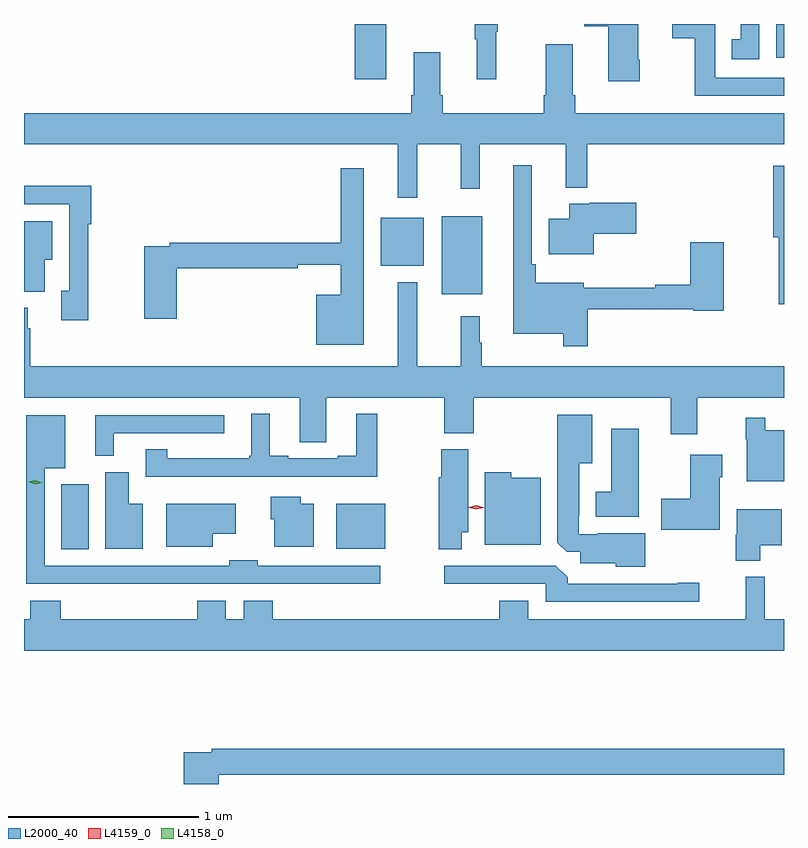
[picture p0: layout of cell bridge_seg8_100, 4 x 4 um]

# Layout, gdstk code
import gdstk
lib = gdstk.Library(unit=1e-6, precision=1e-09)
def R(c, l, rs):  # rectangles x0, y0, x1, y1
    for r in rs: c.add(gdstk.rectangle(r[:2], r[2:], *l))
def P(c, l, *ps):  # polygons
    for p in ps: c.add(gdstk.Polygon(p, *l))
L2000_40 = (2000, 40)
L4158_0 = (4158, 0)
L4159_0 = (4159, 0)

bridge_seg8_100 = lib.new_cell('bridge_seg8_100')
R(bridge_seg8_100, L2000_40, [(683.501,1139.677,683.644,1140.019), (684.947,1139.681,685.204,1139.917), (685.502,1141.019,685.717,1141.429), (685.181,1141.169,685.408,1141.423), (685.046,1142.15,685.21,1142.442), (687.264,1142.265,687.304,1142.442)])
P(bridge_seg8_100, L2000_40, [(686.544,1142.254),(686.536,1142.254),(686.536,1142.442),(686.109,1142.442),(686.109,1142.441),(686.252,1142.441),(686.252,1142.431),(686.378,1142.431),(686.378,1142.142),(686.544,1142.142)],
  [(687.174,1142.442),(687.077,1142.442),(687.077,1142.361),(687.028,1142.361),(687.028,1142.256),(687.174,1142.256)],
  [(685.79,1142.4),(685.798,1142.4),(685.798,1142.442),(685.677,1142.442),(685.677,1142.363),(685.688,1142.363),(685.688,1142.151),(685.79,1142.151)],
  [(687.304,1142.16),(686.943,1142.16),(686.943,1142.442),(686.717,1142.442),(686.717,1142.367),(686.835,1142.367),(686.835,1142.064),(687.304,1142.064)],
  [(685.375,1141.808),(685.603,1141.808),(685.603,1141.575),(685.703,1141.575),(685.703,1141.808),(686.156,1141.808),(686.156,1141.58),(686.268,1141.58),(686.268,1141.808),(687.304,1141.808),(687.304,1141.972),(686.204,1141.972),(686.204,1142.068),(686.191,1142.068),(686.191,1142.335),(686.051,1142.335),(686.051,1142.068),(686.039,1142.068),(686.039,1141.972),(685.508,1141.972),(685.508,1142.068),(685.495,1142.068),(685.495,1142.293),(685.355,1142.293),(685.355,1142.068),(685.343,1142.068),(685.343,1141.972),(683.304,1141.972),(683.304,1141.808),(685.271,1141.808),(685.271,1141.527),(685.375,1141.527)],
  [(686.27,1140.942),(686.826,1140.942),(686.826,1140.934),(686.988,1140.934),(686.988,1141.294),(686.81,1141.294),(686.81,1141.07),(686.626,1141.07),(686.626,1141.055),(686.251,1141.055),(686.251,1141.081),(685.997,1141.081),(685.997,1141.177),(685.977,1141.177),(685.977,1141.699),(685.88,1141.699),(685.88,1140.812),(686.142,1140.812),(686.142,1140.747),(686.27,1140.747)],
  [(687.304,1141.696),(687.248,1141.696),(687.248,1141.32),(687.277,1141.32),(687.277,1140.968),(687.304,1140.968)],
  [(685.093,1141.684),(684.972,1141.684),(684.972,1141.292),(684.07,1141.292),(684.07,1141.272),(683.936,1141.272),(683.936,1140.891),(684.107,1140.891),(684.107,1141.156),(684.746,1141.156),(684.746,1141.175),(684.972,1141.175),(684.972,1141.018),(684.842,1141.018),(684.842,1140.755),(685.093,1140.755)],
  [(683.642,1141.387),(683.657,1141.387),(683.657,1141.592),(683.365,1141.592),(683.365,1141.59),(683.304,1141.59),(683.304,1141.494),(683.541,1141.494),(683.541,1141.038),(683.501,1141.038),(683.501,1140.882),(683.642,1140.882)],
  [(686.302,1141.337),(686.527,1141.337),(686.527,1141.5),(686.278,1141.5),(686.278,1141.495),(686.174,1141.495),(686.174,1141.417),(686.066,1141.417),(686.066,1141.229),(686.302,1141.229)],
  [(683.413,1141.202),(683.452,1141.202),(683.452,1141.405),(683.304,1141.405),(683.304,1141.034),(683.413,1141.034)],
  [(684.895,1140.476),(685.516,1140.476),(685.516,1140.289),(685.671,1140.289),(685.671,1140.476),(686.708,1140.476),(686.708,1140.282),(686.848,1140.282),(686.848,1140.476),(687.304,1140.476),(687.304,1140.64),(685.714,1140.64),(685.714,1140.764),(685.702,1140.764),(685.702,1140.904),(685.603,1140.904),(685.603,1140.64),(685.375,1140.64),(685.375,1141.084),(685.271,1141.084),(685.271,1140.64),(683.336,1140.64),(683.336,1140.842),(683.323,1140.842),(683.323,1140.949),(683.304,1140.949),(683.304,1140.476),(684.755,1140.476),(684.755,1140.241),(684.895,1140.241)],
  [(684.405,1140.06),(684.856,1140.06),(684.856,1140.059),(685.162,1140.059),(685.162,1140.391),(685.052,1140.391),(685.052,1140.169),(684.956,1140.169),(684.956,1140.156),(684.694,1140.156),(684.694,1140.169),(684.598,1140.169),(684.598,1140.391),(684.5,1140.391),(684.5,1140.169),(684.489,1140.169),(684.489,1140.157),(684.059,1140.157),(684.059,1140.203),(683.946,1140.203),(683.946,1140.059),(684.405,1140.059)],
  [(686.575,1139.761),(686.323,1139.761),(686.323,1139.757),(686.223,1139.757),(686.223,1139.857),(686.227,1139.857),(686.227,1140.131),(686.296,1140.131),(686.296,1140.385),(686.111,1140.385),(686.111,1139.713),(686.16,1139.664),(686.231,1139.664),(686.231,1139.603),(686.418,1139.603),(686.418,1139.585),(686.575,1139.585)],
  [(683.776,1140.288),(684.358,1140.288),(684.358,1140.384),(683.678,1140.384),(683.678,1140.169),(683.776,1140.169)],
  [(684.131,1139.496),(684.634,1139.496),(684.634,1139.495),(685.18,1139.495),(685.18,1139.592),(684.534,1139.592),(684.534,1139.62),(684.384,1139.62),(684.384,1139.592),(683.412,1139.592),(683.412,1140.104),(683.521,1140.104),(683.521,1140.382),(683.316,1140.382),(683.316,1139.496),(683.581,1139.496),(683.581,1139.495),(684.131,1139.495)],
  [(687.304,1140.304),(687.204,1140.304),(687.204,1140.37),(687.103,1140.37),(687.103,1140.257),(687.108,1140.257),(687.108,1140.035),(687.304,1140.035)],
  [(686.539,1140.313),(686.396,1140.313),(686.396,1139.98),(686.312,1139.98),(686.312,1139.849),(686.539,1139.849)],
  [(685.609,1139.768),(685.642,1139.768),(685.642,1140.204),(685.501,1140.204),(685.501,1140.057),(685.487,1140.057),(685.487,1139.677),(685.609,1139.677)],
  [(686.965,1140.057),(686.98,1140.057),(686.98,1140.175),(686.81,1140.175),(686.81,1139.943),(686.658,1139.943),(686.658,1139.78),(686.965,1139.78)],
  [(683.929,1139.917),(683.854,1139.917),(683.854,1140.084),(683.732,1140.084),(683.732,1139.681),(683.929,1139.681)],
  [(686.023,1140.055),(685.869,1140.055),(685.869,1140.082),(685.73,1140.082),(685.73,1139.702),(686.023,1139.702)],
  [(684.829,1139.917),(684.76,1139.917),(684.76,1139.953),(684.602,1139.953),(684.602,1139.835),(684.62,1139.835),(684.62,1139.69),(684.829,1139.69)],
  [(684.298,1139.759),(684.418,1139.759),(684.418,1139.917),(684.053,1139.917),(684.053,1139.69),(684.298,1139.69)],
  [(687.178,1139.699),(687.292,1139.699),(687.292,1139.887),(687.056,1139.887),(687.056,1139.754),(687.049,1139.754),(687.049,1139.618),(687.178,1139.618)],
  [(686.857,1139.501),(686.744,1139.501),(686.744,1139.496),(686.165,1139.496),(686.165,1139.53),(686.103,1139.592),(685.515,1139.592),(685.515,1139.496),(686.049,1139.496),(686.049,1139.4),(686.857,1139.4)],
  [(687.304,1139.308),(687.203,1139.308),(687.203,1139.533),(687.103,1139.533),(687.103,1139.308),(685.957,1139.308),(685.957,1139.407),(685.805,1139.407),(685.805,1139.308),(684.614,1139.308),(684.614,1139.407),(684.461,1139.407),(684.461,1139.308),(684.367,1139.308),(684.367,1139.407),(684.215,1139.407),(684.215,1139.308),(683.498,1139.308),(683.498,1139.407),(683.338,1139.407),(683.338,1139.308),(683.304,1139.308),(683.304,1139.144),(687.304,1139.144)],
  [(684.329,1138.492),(687.304,1138.492),(687.304,1138.628),(684.292,1138.628),(684.292,1138.608),(684.146,1138.608),(684.146,1138.442),(684.329,1138.442)])
P(bridge_seg8_100, L4158_0, [(683.362,1140.02),(683.327,1140.033),(683.327,1140.033),(683.327,1140.033),(683.364,1140.04),(683.399,1140.028),(683.399,1140.028),(683.399,1140.028)])
P(bridge_seg8_100, L4159_0, [(685.685,1139.888),(685.646,1139.897),(685.646,1139.898),(685.646,1139.898),(685.685,1139.908),(685.723,1139.898),(685.723,1139.898),(685.723,1139.897)])

lib.write_gds('bridge_seg8_100.gds')
